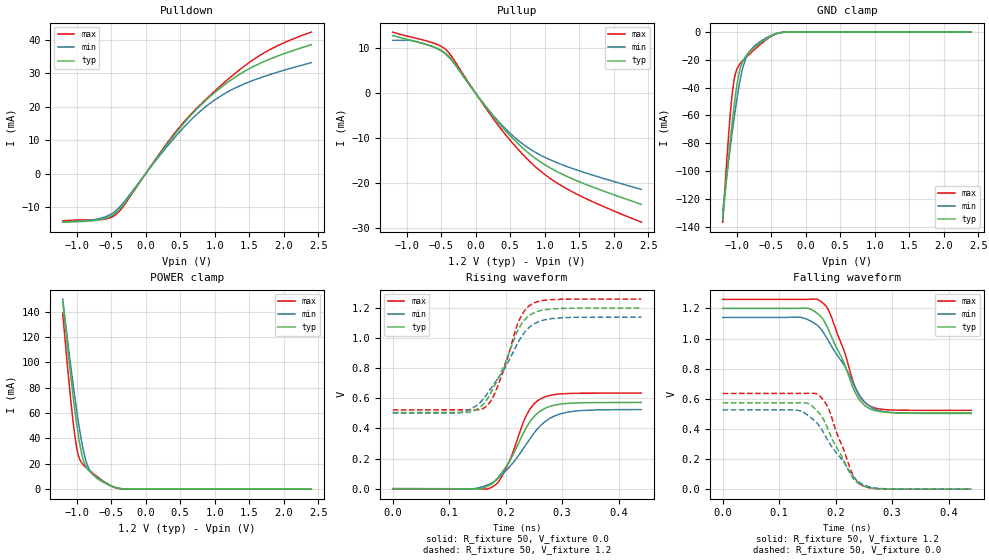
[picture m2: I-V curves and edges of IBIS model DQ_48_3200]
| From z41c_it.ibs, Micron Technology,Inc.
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| MODEL DQ_48_3200 (48 Ohm Data I/O with no ODT, 1600-3200Mbps)
[Model]   DQ_48_3200
Model_type   I/O
Vinl = 905.000mV
Vinh = 1015.000mV
Vmeas = 960.000mV
Vref = 1200.000mV
Cref = 0.0pF
Rref = 50.000Ohm
|   typ   min   max
|C_comp   0.690pF   0.640pF   0.740pF
C_comp_pullup   0.345pF   0.320pF   0.370pF
C_comp_pulldown   0.345pF   0.320pF   0.370pF
[Model Spec]
| Timing spec test load voltage corners
Vref   1.2000V   1.1400V   1.2600V
| Dynamic Overshoot Parameters from DDR4 Specification
|D_overshoot_ampl_h   0.40   NA   NA
|D_overshoot_ampl_l   0.40   NA   NA
|D_overshoot_area_h   0.0800n   NA   NA
|D_overshoot_area_l   0.0800n   NA   NA
[Voltage Range]   1.2000V   1.1400V   1.2600V
| Junction Temperature (Ambient temp is 35C typ, 95C min, -40C max)
[Temperature Range]   50.0   110.0   -40.0
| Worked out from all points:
|   slope of the pulldown table from 0 to 0.18 V, typ, clamps not added: 34.9 ohm
|   slope of the pullup table from 0 to 0.18 V, typ, clamps not added: 48.5 ohm
|   GND clamp passes 1 mA (typ) near -0.41 V on its own axis
|   POWER clamp passes 1 mA (typ) near -0.41 V on its own axis
|   rising waveform, R_fixture 50, V_fixture 0.0: 20-80 % time 50.9ps typ, 65.6ps min, 40.1ps max; typ from 0 V to 0.573 V
|   rising waveform, R_fixture 50, V_fixture 1.2: 20-80 % time 48ps typ, 61.2ps min, 38.3ps max; typ from 0.506 V to 1.2 V
|   falling waveform, R_fixture 50, V_fixture 1.2: 20-80 % time 47.4ps typ, 58.4ps min, 39.8ps max; typ from 1.2 V to 0.506 V
|   falling waveform, R_fixture 50, V_fixture 0.0: 20-80 % time 44.8ps typ, 56.1ps min, 36.4ps max; typ from 0.573 V to 0 V
[Pulldown]
|   Voltage   I(typ)   I(min)   I(max)
-1.2V     -14.47mA   -14.37mA   -14.06mA
-687mV    -13.81mA   -13.47mA   -13.73mA
-546mV    -13.05mA   -12.54mA   -13.36mA
-432mV    -11.68mA   -11.06mA   -12.21mA
-315mV    -9.093mA   -8.515mA   -9.52mA
426mV     11.84mA    10.94mA    12.27mA
684mV     18.08mA    16.65mA    18.36mA
927mV     22.94mA    20.95mA    23.27mA
1.32V     29.17mA    25.83mA    30.39mA
1.656V    32.97mA    28.63mA    35.38mA
1.977V    35.67mA    30.76mA    38.89mA
2.4V      38.57mA    33.18mA    42.33mA
[GND Clamp]
|   Voltage   I(typ)   I(min)   I(max)
-1.2V     -135.1mA   -128.5mA   -136.8mA
-1.137V   -101.4mA   -102mA     -89.39mA
-1.092V   -78.74mA   -83.82mA   -59.98mA
-1.059V   -63.37mA   -71.09mA   -43.08mA
-1.023V   -48.3mA    -57.95mA   -31.49mA
-957mV    -28.31mA   -37.03mA   -23.4mA
-915mV    -21.62mA   -26.86mA   -20.88mA
-867mV    -17.41mA   -19.16mA   -18.47mA
-762mV    -12mA      -11.12mA   -13.58mA
-585mV    -5.436mA   -4.585mA   -6.057mA
-300mV    -121.2uA   -110.6uA   -65.8uA
2.4V      0A         0A         0A
[Pullup]
|   Voltage   I(typ)   I(min)   I(max)
-1.2V     12.87mA    11.81mA    13.65mA
-846mV    11.44mA    11.47mA    12.23mA
-588mV    10.21mA    10.16mA    11.07mA
-432mV    8.884mA    8.695mA    9.759mA
-339mV    7.38mA     7.183mA    8.022mA
57mV      -1.199mA   -1.154mA   -1.302mA
330mV     -6.591mA   -6.278mA   -7.224mA
576mV     -10.69mA   -10.01mA   -11.86mA
834mV     -14.19mA   -12.92mA   -15.97mA
1.065V    -16.55mA   -14.77mA   -18.87mA
1.383V    -19mA      -16.71mA   -21.88mA
2.4V      -24.82mA   -21.49mA   -28.81mA
[POWER Clamp]
|   Voltage   I(typ)   I(min)   I(max)
-1.2V     148.2mA    149.9mA    138.8mA
-1.128V   111.2mA    116.9mA    95.38mA
-1.074V   84.85mA    93.21mA    65.44mA
-1.029V   64.39mA    74.45mA    44.1mA
-990mV    48.44mA    59.3mA     30.64mA
-930mV    29.16mA    38.77mA    21.18mA
-864mV    17.95mA    22.53mA    17.2mA
-810mV    13.93mA    15.03mA    14.66mA
-717mV    9.792mA    9.167mA    10.57mA
-492mV    2.565mA    2.395mA    2.365mA
-333mV    248.5uA    294.1uA    113.5uA
2.4V      0A         0A         0A
[Ramp]
|   typ   min   max
| 20% - 80%
dV/dt_r   343.70m/50.92p   315.29m/65.55p   381.04m/40.12p
dV/dt_f   416.46m/47.40p   382.30m/58.34p   441.87m/39.83p
| Slew rate: Power terminated
|SR_r[V/ns]   8.68   6.25   11.54
|SR_f[V/ns]   8.79   6.55   11.09
| 25% - 75%
|dV/dt_r   286.41m/40.27p   262.75m/52.18p   317.53m/31.69p
|dV/dt_f   347.05m/39.31p   318.58m/48.66p   368.22m/32.73p
| Slew rate: Power terminated
|SR_r[V/ns]   8.91   6.34   11.93
|SR_f[V/ns]   8.83   6.55   11.25
R_load = 50
[Rising Waveform]
R_fixture = 50
V_fixture = 0.0
|   Time   V(typ)   V(min)   V(max)
0s        8.555uV    18.74uV    649nV
137ps     -1.805mV   -2.257mV   125.5uV
171ps     21.92mV    29.94mV    2.575mV
193ps     106mV      92.34mV    80.53mV
209ps     197.2mV    154.8mV    204.5mV
237ps     409.5mV    299.8mV    490mV
260ps     512.5mV    412.9mV    593.1mV
283ps     552mV      477mV      623.4mV
312ps     567.5mV    510mV      632.7mV
440ps     572.8mV    525.5mV    635.1mV
[Rising Waveform]
R_fixture   = 50
V_fixture   = 1.2
V_fixture_min = 1.14
V_fixture_max = 1.26
|   Time   V(typ)   V(min)   V(max)
0s        505.9mV    502.8mV    523.6mV
121ps     505.7mV    506.7mV    523.6mV
145ps     519.9mV    544.2mV    523.3mV
164ps     577.2mV    614mV      542.1mV
185ps     720.7mV    725.2mV    673.2mV
224ps     1.07V      987mV      1.121V
236ps     1.132V     1.051V     1.195V
249ps     1.167V     1.092V     1.232V
292ps     1.197V     1.134V     1.258V
440ps     1.2V       1.14V      1.26V
[Falling Waveform]
R_fixture   = 50
V_fixture   = 1.2
V_fixture_min = 1.14
V_fixture_max = 1.26
|   Time   V(typ)   V(min)   V(max)
0s        1.2V       1.14V      1.26V
135ps     1.201V     1.142V     1.26V
168ps     1.165V     1.086V     1.259V
177ps     1.131V     1.046V     1.237V
188ps     1.051V     977.9mV    1.183V
215ps     835.3mV    823.6mV    917.3mV
235ps     638.2mV    671.1mV    671.8mV
255ps     545.6mV    565.6mV    564.6mV
297ps     508.6mV    509.3mV    525.9mV
440ps     505.9mV    502.8mV    523.6mV
[Falling Waveform]
R_fixture = 50
V_fixture = 0.0
|   Time   V(typ)   V(min)   V(max)
0s        572.8mV    525.6mV    635.1mV
132ps     573.4mV    524mV      635.1mV
152ps     567.2mV    486.7mV    635.5mV
169ps     511.5mV    429.8mV    627.7mV
187ps     390.1mV    316.9mV    537.9mV
230ps     76.61mV    89.97mV    97.16mV
239ps     41.26mV    53.39mV    48.05mV
251ps     17.82mV    25.96mV    18.45mV
292ps     1.013mV    2.191mV    669.8uV
440ps     8.583uV    19.65uV    678.2nV
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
